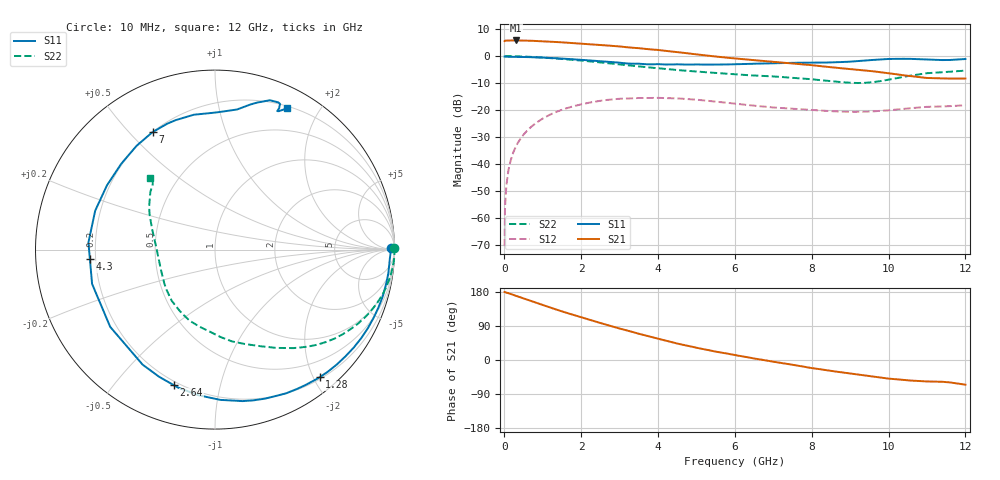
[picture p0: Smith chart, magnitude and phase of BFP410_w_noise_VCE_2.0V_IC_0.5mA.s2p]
! Infineon Technologies  Discrete & RF Semiconductors
! BFP410
! VCE =  2.0 V,  IC =  0.5 mA
! Common Emitter S-Parameters:  Nov 2015
# GHz  S  MA  R  50
!  f  S11  S21  S12  S22
! GHz  MAG  ANG  MAG  ANG  MAG  ANG  MAG  ANG
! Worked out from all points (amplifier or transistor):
!   243 points, 10 MHz to 12 GHz, reference 50 ohm
!   highest |S21| = 5.8 dB at 300 MHz (marker M1)
!   |S21| within 3 dB of that: start of sweep to 3.587 GHz
!   unconditionally stable (mu >= 1): 4.785 GHz to end of sweep
!   at 240 MHz: K = 0.02, MSG = 20.7 dB, |S12| = -35.5 dB
!   at 1.84 GHz: K = 0.26, MSG = 11.6 dB, |S12| = -18.4 dB
!   at 12 GHz: K = 1.50, MAG = 0.8 dB, |S12| = -18.2 dB
!   lowest NFmin = 0.85 dB at 900 MHz
!   S11 on the Smith chart (normalised r, x): 10 MHz: open; 1.28 GHz: 0.23, -2.10; 2.64 GHz: 0.18, -0.73; 4.3 GHz: 0.18, -0.04; 7 GHz: 0.20, +0.58; 12 GHz: 0.22, +1.61
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0.01  0.9828 0.5  1.908 179.5  0.0003 89.6  1 0.5
0.015  0.9812 0.1  1.924 179.5  0.0009 87.7  0.9981 0.3
0.02  0.9797 -0.3  1.939 179.5  0.0015 87.3  0.9962 0.1
0.04  0.9776 -1.3  1.937 178.4  0.0028 87.9  0.9987 -0.5
0.065  0.976 -2.4  1.94 177.5  0.0045 88.3  0.9998 -1.2
0.145  0.9741 -5.5  1.949 175.0  0.0101 86.9  0.9992 -2.9
0.3  0.9721 -11.5  1.954 169.6  0.0208 83.3  0.9939 -6.2
0.68  0.9582 -26.4  1.931 156.2  0.0474 74.2  0.9707 -13.9
1.28  0.9195 -50.6  1.846 135.7  0.0879 59.0  0.9118 -25.0
2.02  0.8551 -80.5  1.704 112.3  0.1287 40.5  0.8266 -37.1
2.64  0.7898 -106.8  1.586 93.6  0.1533 25.0  0.7469 -46.3
3.5  0.7254 -143.6  1.406 69.3  0.1677 5.6  0.6459 -58.0
4.1  0.704 -168.1  1.277 53.7  0.1675 -5.7  0.5869 -66.0
4.3  0.699 -175.7  1.23 48.7  0.1659 -9.4  0.5691 -69.0
5  0.7018 162.0  1.081 32.2  0.156 -20.9  0.5198 -79.6
6.1  0.7096 135.4  0.894 11.3  0.1293 -32.0  0.4542 -94.9
7  0.7414 118.0  0.785 -4.5  0.1118 -34.9  0.4207 -109.5
8.2  0.7596 94.9  0.656 -24.1  0.0986 -34.1  0.3603 -135.3
9.2  0.8106 78.6  0.559 -38.1  0.0932 -28.5  0.3177 -167.7
10.2  0.8894 68.3  0.462 -50.9  0.1023 -23.0  0.3888 156.7
11  0.8652 65.6  0.394 -56.6  0.1149 -24.5  0.483 138.2
12  0.8849 62.9  0.385 -65.1  0.123 -27.8  0.5395 131.9
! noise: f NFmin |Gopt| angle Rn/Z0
0.45  0.91  0.8  10  0.81
0.9  0.85  0.78  25  0.75
1.8  1.38  0.67  59  0.64
2.4  1.54  0.64  75  0.53
5.5  3.38  0.54  -159  0.23
